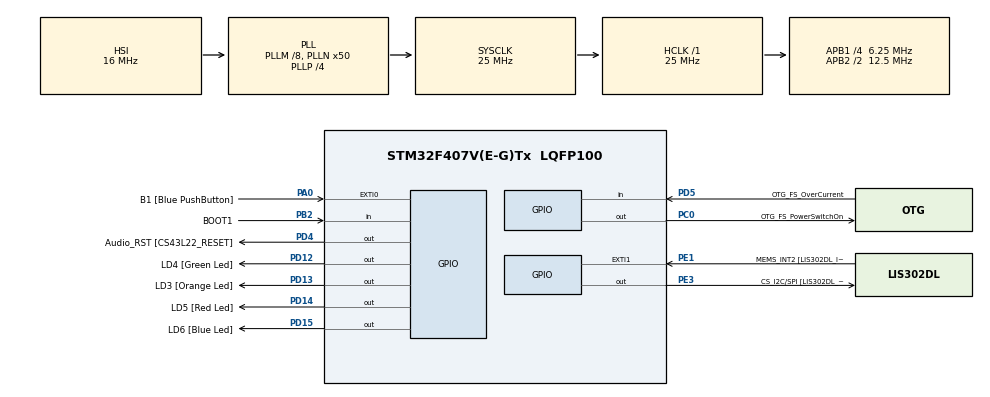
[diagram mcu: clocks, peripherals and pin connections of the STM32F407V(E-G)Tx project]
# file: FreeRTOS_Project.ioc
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Mcu.Family=STM32F4
Mcu.Name=STM32F407V(E-G)Tx
Mcu.Package=LQFP100
NVIC.PriorityGroup=NVIC_PRIORITYGROUP_4
NVIC.TIM1_UP_TIM10_IRQn=true\:0\:0\:false\:false\:true\:false\:true\:true
NVIC.TimeBase=TIM1_UP_TIM10_IRQn
NVIC.TimeBaseIP=TIM1
PA0-WKUP.GPIO_Label=B1 [Blue PushButton]
PA0-WKUP.Signal=GPXTI0
PA10.GPIO_Label=OTG_FS_ID
PA10.GPIO_Mode=GPIO_MODE_AF_PP
PA10.GPIO_PuPd=GPIO_NOPULL
PA10.GPIO_Speed=GPIO_SPEED_FREQ_LOW
PA10.Signal=USB_OTG_FS_ID
PA11.GPIO_Label=OTG_FS_DM
PA11.GPIO_Mode=GPIO_MODE_AF_PP
PA11.GPIO_PuPd=GPIO_NOPULL
PA11.GPIO_Speed=GPIO_SPEED_FREQ_LOW
PA11.Signal=USB_OTG_FS_DM
PA12.GPIO_Label=OTG_FS_DP
PA12.GPIO_Mode=GPIO_MODE_AF_PP
PA12.GPIO_PuPd=GPIO_NOPULL
PA12.GPIO_Speed=GPIO_SPEED_FREQ_LOW
PA12.Signal=USB_OTG_FS_DP
PA13.GPIO_Label=SWDIO
PA13.Signal=SYS_JTMS-SWDIO
PA14.GPIO_Label=SWCLK
PA14.Signal=SYS_JTCK-SWCLK
PA4.GPIO_Label=I2S3_WS [CS43L22_LRCK]
PA4.GPIO_Mode=GPIO_MODE_AF_PP
PA4.GPIO_PuPd=GPIO_NOPULL
PA4.GPIO_Speed=GPIO_SPEED_FREQ_LOW
PA4.Signal=I2S3_WS
PA5.GPIO_Label=SPI1_SCK [LIS302DL_SCL/SPC]
PA5.GPIO_Mode=GPIO_MODE_AF_PP
PA5.GPIO_PuPd=GPIO_NOPULL
PA5.GPIO_Speed=GPIO_SPEED_FREQ_LOW
PA5.Signal=SPI1_SCK
PA6.GPIO_Label=SPI1_MISO [LIS302DL_SDO]
PA6.GPIO_Mode=GPIO_MODE_AF_PP
PA6.GPIO_PuPd=GPIO_NOPULL
PA6.GPIO_Speed=GPIO_SPEED_FREQ_LOW
PA6.Signal=SPI1_MISO
PA7.GPIO_Label=SPI1_MOSI [LIS302DL_SDA/SDI/SDO]
PA7.GPIO_Mode=GPIO_MODE_AF_PP
PA7.GPIO_PuPd=GPIO_NOPULL
PA7.GPIO_Speed=GPIO_SPEED_FREQ_LOW
PA7.Signal=SPI1_MOSI
PA9.GPIO_Label=VBUS_FS
PA9.GPIO_Mode=GPIO_MODE_INPUT
PA9.GPIO_PuPd=GPIO_NOPULL
PA9.Signal=USB_OTG_FS_VBUS
PB10.GPIO_Label=CLK_IN [MP45DT02_CLK]
PB10.GPIO_Mode=GPIO_MODE_AF_PP
PB10.GPIO_PuPd=GPIO_NOPULL
PB10.GPIO_Speed=GPIO_SPEED_FREQ_LOW
PB10.Signal=I2S2_CK
PB2.GPIO_Label=BOOT1
PB2.GPIO_Mode=GPIO_MODE_INPUT
PB2.GPIO_PuPd=GPIO_NOPULL
PB2.Signal=GPIO_Input
PB3.GPIO_Label=SWO
PB3.Signal=SYS_JTDO-SWO
PB6.GPIO_Label=Audio_SCL [CS43L22_SCL]
PB6.GPIO_Mode=GPIO_MODE_AF_OD
PB6.GPIO_PuPd=GPIO_NOPULL
PB6.GPIO_Speed=GPIO_SPEED_FREQ_LOW
PB6.Signal=I2C1_SCL
PB9.GPIO_Label=Audio_SDA [CS43L22_SDA]
PB9.GPIO_Mode=GPIO_MODE_AF_OD
PB9.GPIO_PuPd=GPIO_NOPULL
PB9.GPIO_Speed=GPIO_SPEED_FREQ_LOW
PB9.Signal=I2C1_SDA
PC0.GPIO_Label=OTG_FS_PowerSwitchOn
PC0.GPIO_PuPd=GPIO_NOPULL
PC0.GPIO_Speed=GPIO_SPEED_FREQ_LOW
PC0.PinState=GPIO_PIN_SET
PC0.Signal=GPIO_Output
PC10.GPIO_Label=I2S3_SCK [CS43L22_SCLK]
PC10.GPIO_Mode=GPIO_MODE_AF_PP
PC10.GPIO_PuPd=GPIO_NOPULL
PC10.GPIO_Speed=GPIO_SPEED_FREQ_LOW
PC10.Signal=I2S3_CK
PC12.GPIO_Label=I2S3_SD [CS43L22_SDIN]
PC12.GPIO_Mode=GPIO_MODE_AF_PP
PC12.GPIO_PuPd=GPIO_NOPULL
PC12.GPIO_Speed=GPIO_SPEED_FREQ_LOW
PC12.Signal=I2S3_SD
PC14-OSC32_IN.GPIO_Label=PC14-OSC32_IN
PC14-OSC32_IN.Signal=RCC_OSC32_IN
PC15-OSC32_OUT.GPIO_Label=PC15-OSC32_OUT
PC15-OSC32_OUT.Signal=RCC_OSC32_OUT
PC3.GPIO_Label=PDM_OUT [MP45DT02_DOUT]
PC3.GPIO_Mode=GPIO_MODE_AF_PP
PC3.GPIO_PuPd=GPIO_NOPULL
PC3.GPIO_Speed=GPIO_SPEED_FREQ_LOW
PC3.Signal=I2S2_SD
PC7.GPIO_Label=I2S3_MCK [CS43L22_MCLK]
PC7.GPIO_Mode=GPIO_MODE_AF_PP
PC7.GPIO_PuPd=GPIO_NOPULL
PC7.GPIO_Speed=GPIO_SPEED_FREQ_LOW
PC7.Signal=I2S3_MCK
PD12.GPIO_Label=LD4 [Green Led]
PD12.GPIO_PuPd=GPIO_NOPULL
PD12.GPIO_Speed=GPIO_SPEED_FREQ_LOW
PD12.Signal=GPIO_Output
PD13.GPIO_Label=LD3 [Orange Led]
PD13.GPIO_PuPd=GPIO_NOPULL
PD13.GPIO_Speed=GPIO_SPEED_FREQ_LOW
PD13.Signal=GPIO_Output
PD14.GPIO_Label=LD5 [Red Led]
PD14.GPIO_PuPd=GPIO_NOPULL
PD14.GPIO_Speed=GPIO_SPEED_FREQ_LOW
PD14.Signal=GPIO_Output
PD15.GPIO_Label=LD6 [Blue Led]
PD15.GPIO_PuPd=GPIO_NOPULL
PD15.GPIO_Speed=GPIO_SPEED_FREQ_LOW
PD15.Signal=GPIO_Output
PD4.GPIO_Label=Audio_RST [CS43L22_RESET]
PD4.GPIO_PuPd=GPIO_NOPULL
PD4.GPIO_Speed=GPIO_SPEED_FREQ_LOW
PD4.Signal=GPIO_Output
PD5.GPIO_Label=OTG_FS_OverCurrent
PD5.GPIO_Mode=GPIO_MODE_INPUT
PD5.GPIO_PuPd=GPIO_NOPULL
PD5.Signal=GPIO_Input
PE1.GPIO_Label=MEMS_INT2 [LIS302DL_INT2]
PE1.GPIO_ModeDefaultEXTI=GPIO_MODE_EVT_RISING
PE1.GPIO_PuPd=GPIO_NOPULL
PE1.Signal=GPXTI1
PE3.GPIO_Label=CS_I2C/SPI [LIS302DL_CS_I2C/SPI]
PE3.GPIO_PuPd=GPIO_NOPULL
PE3.GPIO_Speed=GPIO_SPEED_FREQ_LOW
PE3.Signal=GPIO_Output
PH0-OSC_IN.GPIO_Label=PH0-OSC_IN
PH0-OSC_IN.Signal=RCC_OSC_IN
PH1-OSC_OUT.GPIO_Label=PH1-OSC_OUT
PH1-OSC_OUT.Signal=RCC_OSC_OUT
ProjectManager.HeapSize=0x200
ProjectManager.StackSize=0x400
ProjectManager.TargetToolchain=STM32CubeIDE
RCC.48MHZClocksFreq_Value=14285714.285714285
RCC.AHBFreq_Value=25000000
RCC.APB1CLKDivider=RCC_HCLK_DIV4
RCC.APB1Freq_Value=6250000
RCC.APB1TimFreq_Value=12500000
RCC.APB2CLKDivider=RCC_HCLK_DIV2
RCC.APB2Freq_Value=12500000
RCC.APB2TimFreq_Value=25000000
RCC.CortexFreq_Value=25000000
RCC.HCLKFreq_Value=25000000
RCC.HSE_VALUE=8000000
RCC.HSI_VALUE=16000000
RCC.LSE_VALUE=32768
RCC.PLLM=8
RCC.PLLN=50
RCC.PLLP=RCC_PLLP_DIV4
RCC.PLLQ=7
RCC.SYSCLKFreq_VALUE=25000000
RCC.SYSCLKSource=RCC_SYSCLKSOURCE_PLLCLK
RCC.VCOOutputFreq_Value=100000000
VP_SYS_VS_tim1.Mode=TIM1
board=STM32F407G-DISC1

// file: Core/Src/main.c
/* USER CODE BEGIN Header */
/**
  ******************************************************************************
  * @file           : main.c
  * @brief          : Main program body
  ******************************************************************************
  * @attention
  *
  * Copyright (c) 2026 STMicroelectronics.
  * All rights reserved.
  *
  * This software is licensed under terms that can be found in the LICENSE file
  * in the root directory of this software component.
  * If no LICENSE file comes with this software, it is provided AS-IS.
  *
  ******************************************************************************
  */
/* USER CODE END Header */
#include "main.h"

/* USER CODE BEGIN Includes */

#include "FreeRTOS.h"
#include "task.h"
#include "stdio.h"

/* USER CODE END Includes */

/* USER CODE BEGIN PV */
#define DWT_CTRL *(volatile uint32_t*)0xE0001000
BaseType_t status;

/* USER CODE END PV */

void SystemClock_Config(void);
static void MX_GPIO_Init(void);
void task1_handler(void *parameters);
void task2_handler(void *parameters);

int main(void)
{

  /* USER CODE BEGIN 1 */
	TaskHandle_t task1_handle;
	TaskHandle_t task2_handle;
  /* USER CODE END 1 */

  /* MCU Configuration--------------------------------------------------------*/

  /* Reset of all peripherals, Initializes the Flash interface and the Systick. */
  HAL_Init();

  /* Configure the system clock */
  SystemClock_Config();

  /* Initialize all configured peripherals */
  MX_GPIO_Init();
  /* USER CODE BEGIN 2 */
  DWT_CTRL |= ( 1<<0 );

  SEGGER_SYSVIEW_Conf();
  SEGGER_SYSVIEW_Start();

 status = xTaskCreate(task1_handler, "Task-1", 200, "Hello Word from Task-1", 2, &task1_handle);
 configASSERT(status == pdPASS);

 status = xTaskCreate(task2_handler, "Task-2", 200, "Hello Word from Task-2", 2, &task2_handle);
 configASSERT(status == pdPASS);

  /* USER CODE END 2 */

  /* Infinite loop */
  /* USER CODE BEGIN WHILE */
 vTaskStartScheduler();
  while (1)
  {
    /* USER CODE END WHILE */

  }
}

void SystemClock_Config(void)
{
  RCC_OscInitTypeDef RCC_OscInitStruct = {0};
  RCC_ClkInitTypeDef RCC_ClkInitStruct = {0};

  /** Configure the main internal regulator output voltage
  */
  __HAL_RCC_PWR_CLK_ENABLE();
  __HAL_PWR_VOLTAGESCALING_CONFIG(PWR_REGULATOR_VOLTAGE_SCALE1);

  /** Initializes the RCC Oscillators according to the specified parameters
  * in the RCC_OscInitTypeDef structure.
  */
  RCC_OscInitStruct.OscillatorType = RCC_OSCILLATORTYPE_HSI;
  RCC_OscInitStruct.HSIState = RCC_HSI_ON;
  RCC_OscInitStruct.HSICalibrationValue = RCC_HSICALIBRATION_DEFAULT;
  RCC_OscInitStruct.PLL.PLLState = RCC_PLL_ON;
  RCC_OscInitStruct.PLL.PLLSource = RCC_PLLSOURCE_HSI;
  RCC_OscInitStruct.PLL.PLLM = 8;
  RCC_OscInitStruct.PLL.PLLN = 50;
  RCC_OscInitStruct.PLL.PLLP = RCC_PLLP_DIV4;
  RCC_OscInitStruct.PLL.PLLQ = 7;
  if (HAL_RCC_OscConfig(&RCC_OscInitStruct) != HAL_OK)
  {
    Error_Handler();
  }

  /** Initializes the CPU, AHB and APB buses clocks
  */
  RCC_ClkInitStruct.ClockType = RCC_CLOCKTYPE_HCLK|RCC_CLOCKTYPE_SYSCLK
                              |RCC_CLOCKTYPE_PCLK1|RCC_CLOCKTYPE_PCLK2;
  RCC_ClkInitStruct.SYSCLKSource = RCC_SYSCLKSOURCE_PLLCLK;
  RCC_ClkInitStruct.AHBCLKDivider = RCC_SYSCLK_DIV1;
  RCC_ClkInitStruct.APB1CLKDivider = RCC_HCLK_DIV4;
  RCC_ClkInitStruct.APB2CLKDivider = RCC_HCLK_DIV2;

  if (HAL_RCC_ClockConfig(&RCC_ClkInitStruct, FLASH_LATENCY_0) != HAL_OK)
  {
    Error_Handler();
  }
}

static void MX_GPIO_Init(void)
{
  GPIO_InitTypeDef GPIO_InitStruct = {0};

  /* GPIO Ports Clock Enable */
  __HAL_RCC_GPIOE_CLK_ENABLE();
  __HAL_RCC_GPIOC_CLK_ENABLE();
  __HAL_RCC_GPIOH_CLK_ENABLE();
  __HAL_RCC_GPIOA_CLK_ENABLE();
  __HAL_RCC_GPIOB_CLK_ENABLE();
  __HAL_RCC_GPIOD_CLK_ENABLE();

  /*Configure GPIO pin Output Level */
  HAL_GPIO_WritePin(CS_I2C_SPI_GPIO_Port, CS_I2C_SPI_Pin, GPIO_PIN_RESET);

  /*Configure GPIO pin Output Level */
  HAL_GPIO_WritePin(OTG_FS_PowerSwitchOn_GPIO_Port, OTG_FS_PowerSwitchOn_Pin, GPIO_PIN_SET);

  /*Configure GPIO pin Output Level */
  HAL_GPIO_WritePin(GPIOD, LD4_Pin|LD3_Pin|LD5_Pin|LD6_Pin
                          |Audio_RST_Pin, GPIO_PIN_RESET);

  /*Configure GPIO pin : CS_I2C_SPI_Pin */
  GPIO_InitStruct.Pin = CS_I2C_SPI_Pin;
  GPIO_InitStruct.Mode = GPIO_MODE_OUTPUT_PP;
  GPIO_InitStruct.Pull = GPIO_NOPULL;
  GPIO_InitStruct.Speed = GPIO_SPEED_FREQ_LOW;
  HAL_GPIO_Init(CS_I2C_SPI_GPIO_Port, &GPIO_InitStruct);

  /*Configure GPIO pin : OTG_FS_PowerSwitchOn_Pin */
  GPIO_InitStruct.Pin = OTG_FS_PowerSwitchOn_Pin;
  GPIO_InitStruct.Mode = GPIO_MODE_OUTPUT_PP;
  GPIO_InitStruct.Pull = GPIO_NOPULL;
  GPIO_InitStruct.Speed = GPIO_SPEED_FREQ_LOW;
  HAL_GPIO_Init(OTG_FS_PowerSwitchOn_GPIO_Port, &GPIO_InitStruct);

  /*Configure GPIO pin : PDM_OUT_Pin */
  GPIO_InitStruct.Pin = PDM_OUT_Pin;
  GPIO_InitStruct.Mode = GPIO_MODE_AF_PP;
  GPIO_InitStruct.Pull = GPIO_NOPULL;
  GPIO_InitStruct.Speed = GPIO_SPEED_FREQ_LOW;
  GPIO_InitStruct.Alternate = GPIO_AF5_SPI2;
  HAL_GPIO_Init(PDM_OUT_GPIO_Port, &GPIO_InitStruct);

  /*Configure GPIO pin : B1_Pin */
  GPIO_InitStruct.Pin = B1_Pin;
  GPIO_InitStruct.Mode = GPIO_MODE_IT_RISING;
  GPIO_InitStruct.Pull = GPIO_NOPULL;
  HAL_GPIO_Init(B1_GPIO_Port, &GPIO_InitStruct);

  /*Configure GPIO pin : I2S3_WS_Pin */
  GPIO_InitStruct.Pin = I2S3_WS_Pin;
  GPIO_InitStruct.Mode = GPIO_MODE_AF_PP;
  GPIO_InitStruct.Pull = GPIO_NOPULL;
  GPIO_InitStruct.Speed = GPIO_SPEED_FREQ_LOW;
  GPIO_InitStruct.Alternate = GPIO_AF6_SPI3;
  HAL_GPIO_Init(I2S3_WS_GPIO_Port, &GPIO_InitStruct);

  /*Configure GPIO pins : SPI1_SCK_Pin SPI1_MISO_Pin SPI1_MOSI_Pin */
  GPIO_InitStruct.Pin = SPI1_SCK_Pin|SPI1_MISO_Pin|SPI1_MOSI_Pin;
  GPIO_InitStruct.Mode = GPIO_MODE_AF_PP;
  GPIO_InitStruct.Pull = GPIO_NOPULL;
  GPIO_InitStruct.Speed = GPIO_SPEED_FREQ_LOW;
  GPIO_InitStruct.Alternate = GPIO_AF5_SPI1;
  HAL_GPIO_Init(GPIOA, &GPIO_InitStruct);

  /*Configure GPIO pin : BOOT1_Pin */
  GPIO_InitStruct.Pin = BOOT1_Pin;
  GPIO_InitStruct.Mode = GPIO_MODE_INPUT;
  GPIO_InitStruct.Pull = GPIO_NOPULL;
  HAL_GPIO_Init(BOOT1_GPIO_Port, &GPIO_InitStruct);

  /*Configure GPIO pin : CLK_IN_Pin */
  GPIO_InitStruct.Pin = CLK_IN_Pin;
  GPIO_InitStruct.Mode = GPIO_MODE_AF_PP;
  GPIO_InitStruct.Pull = GPIO_NOPULL;
  GPIO_InitStruct.Speed = GPIO_SPEED_FREQ_LOW;
  GPIO_InitStruct.Alternate = GPIO_AF5_SPI2;
  HAL_GPIO_Init(CLK_IN_GPIO_Port, &GPIO_InitStruct);

  /*Configure GPIO pins : LD4_Pin LD3_Pin LD5_Pin LD6_Pin
                           Audio_RST_Pin */
  GPIO_InitStruct.Pin = LD4_Pin|LD3_Pin|LD5_Pin|LD6_Pin
                          |Audio_RST_Pin;
  GPIO_InitStruct.Mode = GPIO_MODE_OUTPUT_PP;
  GPIO_InitStruct.Pull = GPIO_NOPULL;
  GPIO_InitStruct.Speed = GPIO_SPEED_FREQ_LOW;
  HAL_GPIO_Init(GPIOD, &GPIO_InitStruct);

  /*Configure GPIO pins : I2S3_MCK_Pin I2S3_SCK_Pin I2S3_SD_Pin */
  GPIO_InitStruct.Pin = I2S3_MCK_Pin|I2S3_SCK_Pin|I2S3_SD_Pin;
  GPIO_InitStruct.Mode = GPIO_MODE_AF_PP;
  GPIO_InitStruct.Pull = GPIO_NOPULL;
  GPIO_InitStruct.Speed = GPIO_SPEED_FREQ_LOW;
  GPIO_InitStruct.Alternate = GPIO_AF6_SPI3;
  HAL_GPIO_Init(GPIOC, &GPIO_InitStruct);

  /*Configure GPIO pin : VBUS_FS_Pin */
  GPIO_InitStruct.Pin = VBUS_FS_Pin;
  GPIO_InitStruct.Mode = GPIO_MODE_INPUT;
  GPIO_InitStruct.Pull = GPIO_NOPULL;
  HAL_GPIO_Init(VBUS_FS_GPIO_Port, &GPIO_InitStruct);

  /*Configure GPIO pins : OTG_FS_ID_Pin OTG_FS_DM_Pin OTG_FS_DP_Pin */
  GPIO_InitStruct.Pin = OTG_FS_ID_Pin|OTG_FS_DM_Pin|OTG_FS_DP_Pin;
  GPIO_InitStruct.Mode = GPIO_MODE_AF_PP;
  GPIO_InitStruct.Pull = GPIO_NOPULL;
  GPIO_InitStruct.Speed = GPIO_SPEED_FREQ_LOW;
  GPIO_InitStruct.Alternate = GPIO_AF10_OTG_FS;
  HAL_GPIO_Init(GPIOA, &GPIO_InitStruct);

  /*Configure GPIO pin : OTG_FS_OverCurrent_Pin */
  GPIO_InitStruct.Pin = OTG_FS_OverCurrent_Pin;
  GPIO_InitStruct.Mode = GPIO_MODE_INPUT;
  GPIO_InitStruct.Pull = GPIO_NOPULL;
  HAL_GPIO_Init(OTG_FS_OverCurrent_GPIO_Port, &GPIO_InitStruct);

  /*Configure GPIO pins : Audio_SCL_Pin Audio_SDA_Pin */
  GPIO_InitStruct.Pin = Audio_SCL_Pin|Audio_SDA_Pin;
  GPIO_InitStruct.Mode = GPIO_MODE_AF_OD;
  GPIO_InitStruct.Pull = GPIO_NOPULL;
  GPIO_InitStruct.Speed = GPIO_SPEED_FREQ_LOW;
  GPIO_InitStruct.Alternate = GPIO_AF4_I2C1;
  HAL_GPIO_Init(GPIOB, &GPIO_InitStruct);

  /*Configure GPIO pin : MEMS_INT2_Pin */
  GPIO_InitStruct.Pin = MEMS_INT2_Pin;
  GPIO_InitStruct.Mode = GPIO_MODE_EVT_RISING;
  GPIO_InitStruct.Pull = GPIO_NOPULL;
  HAL_GPIO_Init(MEMS_INT2_GPIO_Port, &GPIO_InitStruct);

}

/* USER CODE BEGIN 4 */
void task1_handler(void *parameters)
{
	while(1)
	{
		//HAL_GPIO_TogglePin(LD4_GPIO_Port, LD4_Pin);
		printf("Message from Task1\n");
		//taskYIELD();
	}
}

void task2_handler(void *parameters)
{
	while(1)
	{
		//HAL_GPIO_TogglePin(LD3_GPIO_Port, LD3_Pin);
		printf("Message from Task2\n");
		//taskYIELD();
	}
}
/* USER CODE END 4 */

void HAL_TIM_PeriodElapsedCallback(TIM_HandleTypeDef *htim)
{
  if (htim->Instance == TIM1)
  {
    HAL_IncTick();
  }
}

void Error_Handler(void)
{
  __disable_irq();
  while (1)
  {
  }
}
